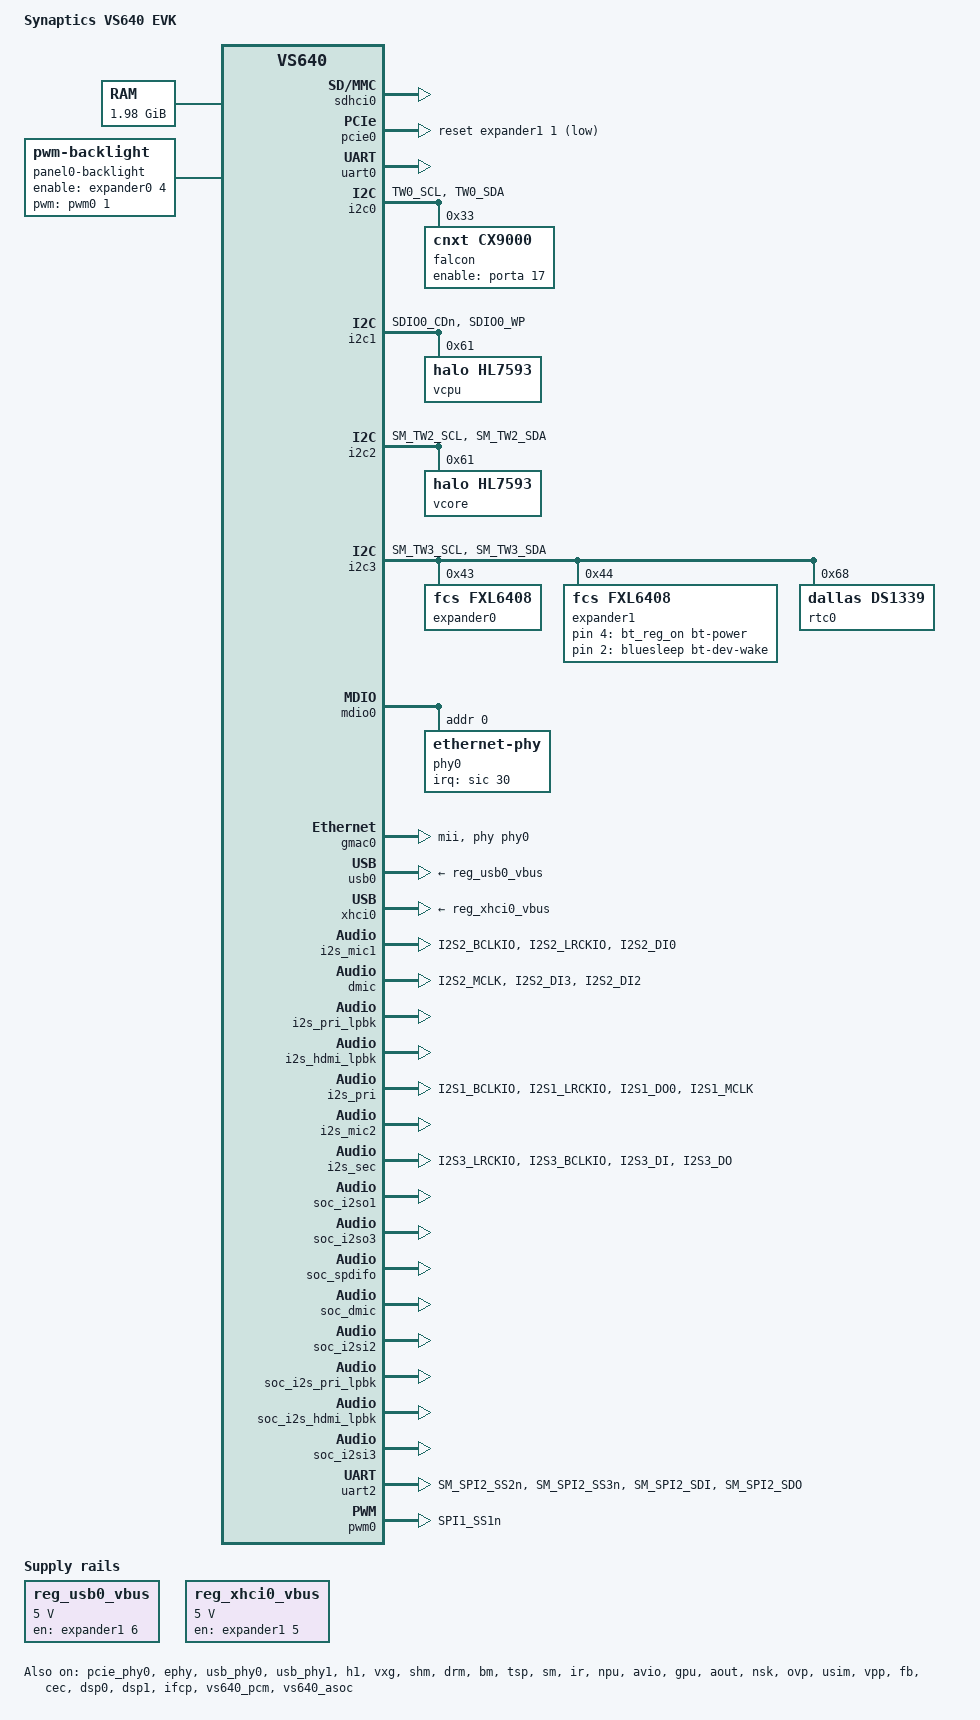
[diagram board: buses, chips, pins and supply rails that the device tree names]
// SPDX-License-Identifier: (GPL-2.0 OR MIT)
/*
 * Copyright (C) 2020 Synaptics Incorporated
 *
 * Author: Benson Gui <begu@synaptics.com>
 */

/dts-v1/;

/memreserve/ 0x7f000000 0x01000000;

#include <dt-bindings/gpio/gpio.h>

#include "vs640.dtsi"

/ {
	model = "Synaptics VS640 EVK";
	compatible = "syna,vs640-evk", "syna,vs640";

	cpus {
		cpu@0 {
			cpu0-supply = <&vcpu>;
		};
	};

	chosen {
		stdout-path = "serial0:115200n8";
	};

	memory {
		device_type = "memory";
		reg = <0 0x01000000 0 0x7f000000>;
	};

	panel0-backlight {
		compatible = "pwm-backlight";
		pwms = <&pwm0 1 1000000 0>;
		brightness-levels = <0 4 8 16 32 64 128 255>;
		default-brightness-level = <6>;
		enable-gpio = <&expander0 4 GPIO_ACTIVE_HIGH>;
	};

	ion {
		compatible = "syna,ion-berlin-heaps";
		pool-num = <2>;
		reg-names = "NonSecure-NC", "Secure";
		reg = <0 0x7f000000 0 0x00800000>,
		      <0 0x7f800000 0 0x00800000>;
		attributes-num-per-pool = <2>;
		pool-attributes = <0x00000105 0x00000F3A 0x00000102 0x00000F3D>;
	};

	regulators {
		compatible = "simple-bus";
		#address-cells = <1>;
		#size-cells = <0>;

		reg_usb0_vbus: usb0_vbus {
			compatible = "regulator-fixed";
			regulator-name = "usb0_vbus";
			regulator-min-microvolt = <5000000>;
			regulator-max-microvolt = <5000000>;
			gpio = <&expander1 6 GPIO_ACTIVE_HIGH>;
			enable-active-high;
		};

		reg_xhci0_vbus: xhci0_vbus {
			compatible = "regulator-fixed";
			regulator-name = "xhci0_vbus";
			regulator-min-microvolt = <5000000>;
			regulator-max-microvolt = <5000000>;
			gpio = <&expander1 5 GPIO_ACTIVE_HIGH>;
			enable-active-high;
		};
	};

	bt_reg_on: bt_reg_on {
		compatible = "syna,rfkill";
		bt-power-gpio = <&expander1 4 GPIO_ACTIVE_HIGH>;
	};

	bluesleep: bluesleep {
		compatible = "syna,bluesleep";
		bt-dev-wake-gpio = <&expander1 2 GPIO_ACTIVE_HIGH>;
	};

	dummy_label {
		dummy1 = <&vcore1>;
		dummy2 = <&vcpu1>;
		dummy3 = <&vcore2>;
	};
};

&pinctrl {
	i2c0_pmux: i2c0-pmux {
		groups = "TW0_SCL", "TW0_SDA";
		function = "tw0";
		drive-strength = <7>;
	};

	i2c1_pmux: i2c1-pmux {
		groups = "SDIO0_CDn", "SDIO0_WP";
		function = "tw1a";
		drive-strength = <7>;
	};

	scrd_pmux: scrd-pmux {
		groups ="SCRD0_RST", "SCRD0_DCLK", "SPI1_SS2n", "SPI1_SS3n", "SCRD0_DIO", "SCRD0_CRD_PRES";
		function = "scrd0";
	};

	hdmi_pwr_pmux: hdmi_pwr-pmux {
		groups = "GPIO_A0";
		function = "gpio";
	};

	pwm1_pmux: pwm1-pmux {
		groups = "SPI1_SS1n";
		function = "pwm";
	};
};

&sm_pinctrl {
	i2c2_pmux: i2c2-pmux {
		groups = "SM_TW2_SCL", "SM_TW2_SDA";
		function = "tw2";
		drive-strength = <7>;
	};

	i2c3_pmux: i2c3-pmux {
		groups = "SM_TW3_SCL", "SM_TW3_SDA";
		function = "tw3";
		drive-strength = <7>;
	};

	uart2_pmux: uart2-pmux {
		groups = "SM_SPI2_SS2n", "SM_SPI2_SS3n", "SM_SPI2_SDI", "SM_SPI2_SDO";
		function = "uart2a";
		drive-strength = <3>;
	};
};

&avio_pinctrl {
	i2s1_pmux: i2s1-pmux {
		groups = "I2S1_BCLKIO", "I2S1_LRCKIO", "I2S1_DO0", "I2S1_MCLK";
		function = "i2s1";
	};

	falcon_gpio_pmux: falcon_gpio-pmux {
		groups = "I2S1_DO1";
		function = "gpio";
	};

	i2s2_pmux: i2s2-pmux {
		groups = "I2S2_BCLKIO", "I2S2_LRCKIO", "I2S2_DI0";
		function = "i2s2";
	};

	i2s3_pmux: i2s3-pmux {
		groups = "I2S3_LRCKIO", "I2S3_BCLKIO", "I2S3_DI", "I2S3_DO";
		function = "i2s3";
	};

	spdifo_pmux: spdifo-pmux {
		groups = "SPDIFO";
		function = "spdifo";
	};

	pdm_pmux: pdm-pmux {
		groups = "I2S2_MCLK", "I2S2_DI3", "I2S2_DI2";
		function = "pdm";
	};
};

&sdhci0 {
	status = "okay";
	sdclkdl-dc = /bits/ 8 <26>;
	mmc-ddr-1_8v;
	mmc-hs200-1_8v;
	mmc-hs400-1_8v;
	dll-calibration;
	dll-delay-offset = <300>;
};

&pcie_phy0 {
	status = "okay";
};

&pcie0 {
	status = "okay";
	reset-gpios = <&expander1 1 GPIO_ACTIVE_LOW>;
};

&uart0 {
	status = "okay";
};

&i2c0 {
	status = "okay";
	pinctrl-names = "default";
	pinctrl-0 = <&i2c0_pmux>;

	falcon: cx9000@33 {
		compatible = "cnxt,cx9000";
		pinctrl-names = "default";
		pinctrl-0 = <&falcon_gpio_pmux>;

		#sound-dai-cells = <0>;
		reg = <0x33>;
		enable-gpios = <&porta 17 GPIO_ACTIVE_HIGH>;
		status = "okay";
	};
};

&i2c1 {
	status = "okay";
	pinctrl-names = "default";
	pinctrl-0 = <&i2c1_pmux>;

	vcpu: regulator@61 {
		compatible = "halo,hl7593";
		regulator-name = "vcpu";
		regulator-min-microvolt = <700000>;
		regulator-max-microvolt = <987500>;
		regulator-always-on;
		regulator-boot-on;
		regulator-active-discharge = <0>;
		halo,vsel-state-high;
		halo,vsel-step = <1>;
		reg = <0x61>;
	};

	regulator@49 {
		compatible = "ti,tps62868";
		reg = <0x49>;
		status = "disabled";
		regulators {
			vcpu1: SW {
				regulator-boot-on;
				regulator-always-on;
				regulator-active-discharge = <0>;
				regulator-name = "vcpu";
				regulator-min-microvolt = <700000>;
				regulator-max-microvolt = <987500>;
				regulator-initial-mode = <0>;
			};
		};
	};
};

&i2c2 {
	status = "okay";
	pinctrl-names = "default";
	pinctrl-0 = <&i2c2_pmux>;

	vcore: regulator@61 {
		compatible = "halo,hl7593";
		regulator-name = "vcore";
		regulator-min-microvolt = <700000>;
		regulator-max-microvolt = <937500>;
		regulator-always-on;
		regulator-boot-on;
		regulator-active-discharge = <0>;
		halo,vsel-state-high;
		halo,vsel-step = <1>;
		reg = <0x61>;
	};

	vcore1: regulator1@60 {
		status = "disabled";
		compatible = "silergy,sy8827n";
		regulator-name = "vcore";
		regulator-min-microvolt = <700000>;
		regulator-max-microvolt = <937500>;
		regulator-active-discharge = <0>;
		regulator-always-on;
		regulator-boot-on;
		silergy,vsel-step = <1>;
		reg = <0x60>;
	};

	regulator@49 {
		compatible = "ti,tps62868";
		reg = <0x49>;
		status = "disabled";
		regulators {
			vcore2: SW {
				regulator-boot-on;
				regulator-always-on;
				regulator-active-discharge = <0>;
				regulator-name = "vcore";
				regulator-min-microvolt = <700000>;
				regulator-max-microvolt = <987500>;
				regulator-initial-mode = <0>;
			};
		};
	};
};

&i2c3 {
	status = "okay";
	pinctrl-names = "default";
	pinctrl-0 = <&i2c3_pmux>;
	no-irq-suspend;

	expander0: gpio@43 {
		compatible = "fcs,fxl6408";
		reg = <0x43>;
		gpio-controller;
		#gpio-cells = <2>;
	};

	expander1: gpio@44 {
		compatible = "fcs,fxl6408";
		reg = <0x44>;
		gpio-controller;
		#gpio-cells = <2>;
		shutdown-mask = /bits/ 8 <0x1>;
		shutdown-val = /bits/ 8 <0x0>;

		soc_global_rstn {
			gpio-hog;
			gpios = <0 GPIO_ACTIVE_HIGH>;
			output-high;
		};
	};

	rtc0: rtc@68 {
		compatible = "dallas,ds1339";
		wakeup-source;
		reg = <0x68>;
	};
};

&ephy {
	status = "okay";
};

&mdio0 {
	phy0: ethernet-phy@0 {
		reg = <0>;
		interrupt-parent = <&sic>;
		interrupts = <30>;
		ephy = <&ephy>;
		eee-broken-100tx;
	};
};

&gmac0 {
	status = "okay";
	phy-handle = <&phy0>;
	phy-mode = "mii";
};

&usb0 {
	vbus-supply = <&reg_usb0_vbus>;
	status = "okay";
};

&usb_phy0 {
	status = "okay";
};

&xhci0 {
	vbus-supply = <&reg_xhci0_vbus>;
	status = "okay";
};

&usb_phy1{
	status = "okay";
};

&h1 {
	status = "okay";
};

&vxg {
	status = "okay";
};

&shm {
	status = "okay";
};

&drm {
	status = "okay";
};

&bm {
	status = "okay";
};

&tsp {
	status = "okay";
};

&sm {
	status = "okay";
};

&ir {
	status = "okay";
};

&npu {
	status = "okay";
};

&avio {
	status = "okay";
	vpp {
		pinctrl-0 = <&hdmi_pwr_pmux>;
		pinctrl-names = "default";
		hdtx5v-gpio = <&portb 3 GPIO_ACTIVE_HIGH>; /* SOC GPIO 35 */
	};
};

&gpu {
	status = "okay";
};

&aout {
	status = "okay";
	pinctrl-0 = <&i2s1_pmux>, <&spdifo_pmux>;
	pinctrl-names = "default";
};

&nsk {
	status = "okay";
};

&ovp {
	status = "okay";
};

&usim {
	status = "okay";
	pinctrl-0 = <&scrd_pmux>;
	pinctrl-names = "default";
	voltcfg1-gpios = <&portb 2 GPIO_ACTIVE_HIGH>;
	voltcfg2-gpios = <&portb 1 GPIO_ACTIVE_HIGH>;
	cmdvcc-gpios = <&expander0 3 GPIO_ACTIVE_HIGH>;
	chipsel-gpios = <&expander0 7 GPIO_ACTIVE_HIGH>;
	ext-volt-cfg-div = <0 1 3>; /* <VOLT_CFG_1_8V VOLT_CFG_3_3V VOLT_CFG_5_0V> */
};

&vpp {
	status = "okay";
};

&fb {
	status = "okay";
};

&cec {
	status = "okay";
};

&dsp0 {
	status = "okay";
};

&dsp1 {
	status = "okay";
};

&ifcp {
	status = "okay";
};

&i2s_mic1 {
	status = "okay";
	pinctrl-0 = <&i2s2_pmux>;
	pinctrl-names = "default";
	intlmode;
};

&dmic {
	status = "okay";
	pinctrl-0 = <&pdm_pmux>;
	pinctrl-names = "default";
	pdm-type = <1>;
	pdm-clk-sel = <2>;
};

&i2s_pri_lpbk {
	status = "okay";
};

&i2s_hdmi_lpbk {
	status = "okay";
};

&vs640_pcm {
	status = "okay";
};

&i2s_pri {
	status = "okay";
	pinctrl-0 = <&i2s1_pmux>;
	pinctrl-names = "default";
};

&spdif_out {
	status = "okay";
	pinctrl-0 = <&spdifo_pmux>;
	pinctrl-names = "default";
};

&i2s_mic2 {
	status = "okay";
	duplex;
	disablemicmute;
};

&i2s_sec {
	status = "okay";
	pinctrl-0 = <&i2s3_pmux>;
	pinctrl-names = "default";
	duplex;
};

&vs640_asoc {
	status = "okay";

	soc_i2so1: soc-i2so1 {
		status = "okay";
		stream-name = "soc-i2so1";
		link-name = "soc-i2so1";
		format = "i2s";
		continuous-clock;
		bitclock-inversion;
		frame-inversion;
		bitclock-master;
		frame-master;
		cpu-node = <&i2s_pri>;
		codec-name = "cx9000.0-0033";
		codec-dai-name = "cx9000-amplifier";
		platform-node = <&vs640_pcm>;
	};

	soc_i2so3: soc-i2so3 {
		status = "okay";
		stream-name = "soc-i2so3";
		link-name = "soc-i2so3";
		format = "dsp_a";
		bitclock-master;
		frame-master;
		cpu-node = <&i2s_sec>;
		codec-name = "snd-soc-dummy";
		codec-dai-name = "snd-soc-dummy-dai";
		platform-node = <&vs640_pcm>;
	};

	soc_spdifo: soc-spdifo {
		status = "okay";
		stream-name = "soc-spdifo";
		link-name = "soc-spdifo";
		cpu-node = <&spdif_out>;
		codec-name = "snd-soc-dummy";
		codec-dai-name = "snd-soc-dummy-dai";
		platform-node = <&vs640_pcm>;
	};

	soc_dmic: soc-dmic {
		status = "okay";
		stream-name = "soc-dmic";
		link-name = "soc-dmic";
		cpu-node = <&dmic>;
		codec-name = "snd-soc-dummy";
		codec-dai-name = "snd-soc-dummy-dai";
		platform-node = <&vs640_pcm>;
	};

	soc_i2si2: soc-i2si2 {
		status = "okay";
		stream-name = "soc-i2si2";
		link-name = "soc-i2si2";
		format = "i2s";
		bitclock-inversion;
		frame-inversion;
		cpu-node = <&i2s_mic1>;
		codec-name = "snd-soc-dummy";
		codec-dai-name = "snd-soc-dummy-dai";
		platform-node = <&vs640_pcm>;
	};

	soc_i2s_pri_lpbk: soc-i2s-pri-lpbk {
		status = "okay";
		stream-name = "soc-i2s-pri-lpbk";
		link-name = "soc-i2s-pri-lpbk";
		format = "i2s";
		cpu-node = <&i2s_pri_lpbk>;
		codec-name = "snd-soc-dummy";
		codec-dai-name = "snd-soc-dummy-dai";
		platform-node = <&vs640_pcm>;
	};

	soc_i2s_hdmi_lpbk: soc-i2s-hdmi-lpbk {
		status = "okay";
		stream-name = "soc-i2s-hdmi-lpbk";
		link-name = "soc-i2s-hdmi-lpbk";
		format = "i2s";
		cpu-node = <&i2s_hdmi_lpbk>;
		codec-name = "snd-soc-dummy";
		codec-dai-name = "snd-soc-dummy-dai";
		platform-node = <&vs640_pcm>;
	};

	soc_i2si3: soc-i2si3 {
		status = "okay";
		stream-name = "soc-i2si3";
		link-name = "soc-i2si3";
		format = "dsp_a";
		bitclock-master;
		frame-master;
		cpu-node = <&i2s_mic2>;
		codec-name = "snd-soc-dummy";
		codec-dai-name = "snd-soc-dummy-dai";
		platform-node = <&vs640_pcm>;
	};
};

&uart2 {
	pinctrl-0 = <&uart2_pmux>;
	pinctrl-names = "default";
	status = "okay";
};

&axi_meter {
	status = "okay";
};

&pwm0 {
	pinctrl-names = "default";
	pinctrl-0 = <&pwm1_pmux>;
	status = "okay";
};
